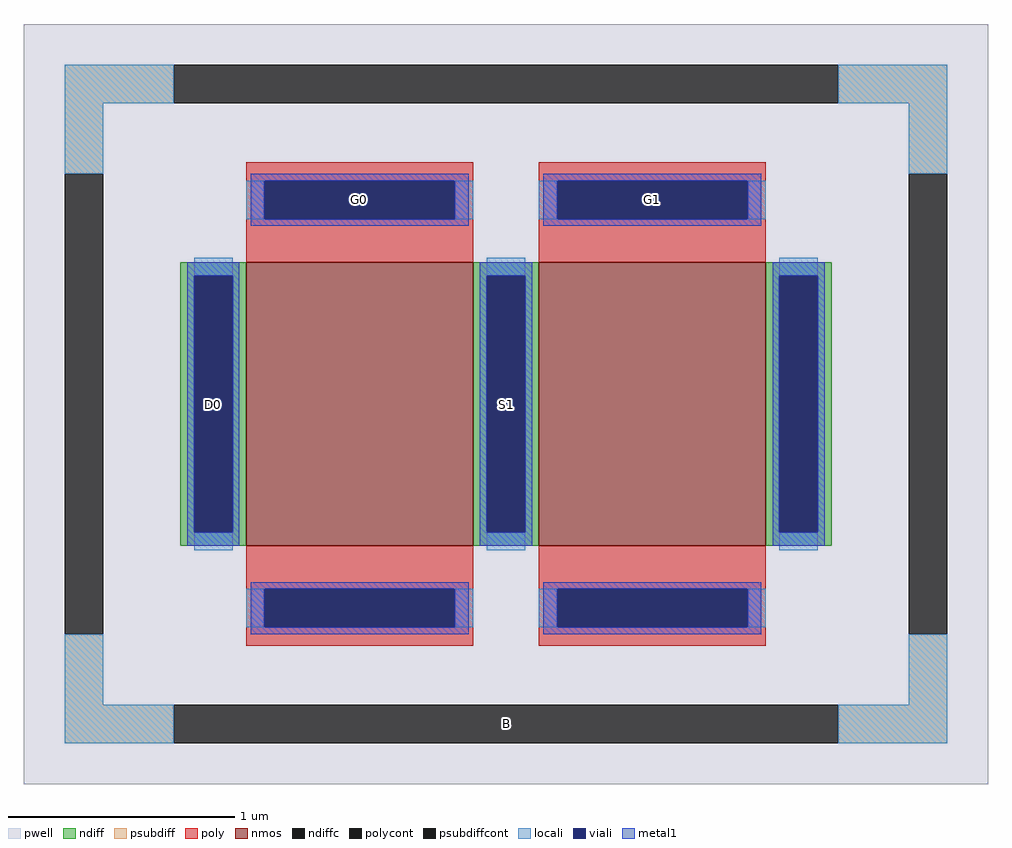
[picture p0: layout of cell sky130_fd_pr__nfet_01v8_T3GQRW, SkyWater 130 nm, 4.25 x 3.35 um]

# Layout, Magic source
magic
tech sky130A
magscale 1 2
<< pwell >>
rect -425 -335 425 335
<< nmos >>
rect -229 -125 -29 125
rect 29 -125 229 125
<< ndiff >>
rect -287 113 -229 125
rect -287 -113 -275 113
rect -241 -113 -229 113
rect -287 -125 -229 -113
rect -29 113 29 125
rect -29 -113 -17 113
rect 17 -113 29 113
rect -29 -125 29 -113
rect 229 113 287 125
rect 229 -113 241 113
rect 275 -113 287 113
rect 229 -125 287 -113
<< ndiffc >>
rect -275 -113 -241 113
rect -17 -113 17 113
rect 241 -113 275 113
<< psubdiff >>
rect -389 265 -293 299
rect 293 265 389 299
rect -389 203 -355 265
rect 355 203 389 265
rect -389 -265 -355 -203
rect 355 -265 389 -203
rect -389 -299 -293 -265
rect 293 -299 389 -265
<< psubdiffcont >>
rect -293 265 293 299
rect -389 -203 -355 203
rect 355 -203 389 203
rect -293 -299 293 -265
<< poly >>
rect -229 197 -29 213
rect -229 163 -213 197
rect -45 163 -29 197
rect -229 125 -29 163
rect 29 197 229 213
rect 29 163 45 197
rect 213 163 229 197
rect 29 125 229 163
rect -229 -163 -29 -125
rect -229 -197 -213 -163
rect -45 -197 -29 -163
rect -229 -213 -29 -197
rect 29 -163 229 -125
rect 29 -197 45 -163
rect 213 -197 229 -163
rect 29 -213 229 -197
<< polycont >>
rect -213 163 -45 197
rect 45 163 213 197
rect -213 -197 -45 -163
rect 45 -197 213 -163
<< locali >>
rect -389 265 -293 299
rect 293 265 389 299
rect -389 203 -355 265
rect 355 203 389 265
rect -229 163 -213 197
rect -45 163 -29 197
rect 29 163 45 197
rect 213 163 229 197
rect -275 113 -241 129
rect -275 -129 -241 -113
rect -17 113 17 129
rect -17 -129 17 -113
rect 241 113 275 129
rect 241 -129 275 -113
rect -229 -197 -213 -163
rect -45 -197 -29 -163
rect 29 -197 45 -163
rect 213 -197 229 -163
rect -389 -265 -355 -203
rect 355 -265 389 -203
rect -389 -299 -293 -265
rect 293 -299 389 -265
<< viali >>
rect -213 163 -45 197
rect 45 163 213 197
rect -275 -113 -241 113
rect -17 -113 17 113
rect 241 -113 275 113
rect -213 -197 -45 -163
rect 45 -197 213 -163
<< metal1 >>
rect -225 197 -33 203
rect -225 163 -213 197
rect -45 163 -33 197
rect -225 157 -33 163
rect 33 197 225 203
rect 33 163 45 197
rect 213 163 225 197
rect 33 157 225 163
rect -281 113 -235 125
rect -281 -113 -275 113
rect -241 -113 -235 113
rect -281 -125 -235 -113
rect -23 113 23 125
rect -23 -113 -17 113
rect 17 -113 23 113
rect -23 -125 23 -113
rect 235 113 281 125
rect 235 -113 241 113
rect 275 -113 281 113
rect 235 -125 281 -113
rect -225 -163 -33 -157
rect -225 -197 -213 -163
rect -45 -197 -33 -163
rect -225 -203 -33 -197
rect 33 -163 225 -157
rect 33 -197 45 -163
rect 213 -197 225 -163
rect 33 -203 225 -197
<< labels >>
rlabel psubdiffcont 0 -282 0 -282 0 B
port 6 nsew
rlabel ndiffc -258 0 -258 0 0 D0
port 7 nsew
rlabel polycont -129 180 -129 180 0 G0
port 8 nsew
rlabel ndiffc 0 0 0 0 0 S1
port 9 nsew
rlabel polycont 129 180 129 180 0 G1
port 10 nsew
<< properties >>
string FIXED_BBOX -372 -282 372 282
string gencell sky130_fd_pr__nfet_01v8
string library sky130
string parameters w 1.25 l 1.0 m 1 nf 2 diffcov 100 polycov 100 guard 1 glc 1 grc 1 gtc 1 gbc 1 tbcov 100 rlcov 100 topc 1 botc 1 poverlap 0 doverlap 1 lmin 0.15 wmin 0.42 class mosfet compatible {sky130_fd_pr__nfet_01v8 sky130_fd_pr__nfet_01v8_lvt  sky130_fd_bs_flash__special_sonosfet_star  sky130_fd_pr__nfet_g5v0d10v5 sky130_fd_pr__nfet_05v0_nvt  sky130_fd_pr__nfet_03v3_nvt} full_metal 1 conn_gates 0 viasrc 100 viadrn 100 viagate 100 viagb 0 viagr 0 viagl 0 viagt 0 doports 1 ad 0.3625 as 0.725 pd 3.08 ps 6.16 nrd 0.116 nrs 0.116 sa 0 sb 0 sd 0 mult 1
<< end >>
